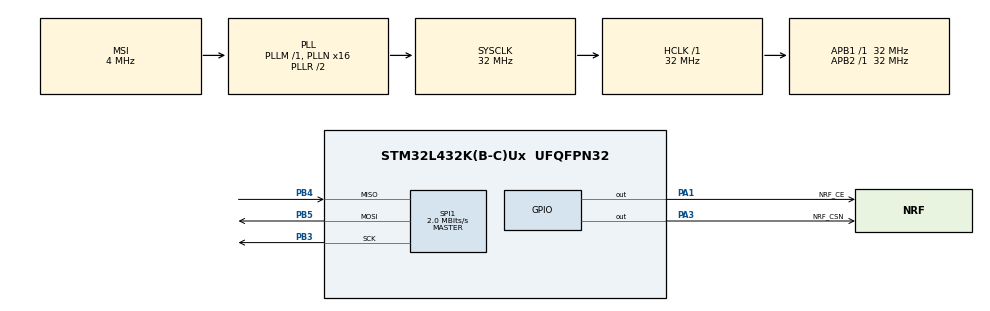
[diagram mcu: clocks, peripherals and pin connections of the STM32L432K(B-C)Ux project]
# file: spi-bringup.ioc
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Mcu.Family=STM32L4
Mcu.Name=STM32L432K(B-C)Ux
Mcu.Package=UFQFPN32
NVIC.PriorityGroup=NVIC_PRIORITYGROUP_4
PA0.GPIO_Label=MCO [High speed clock in]
PA0.Signal=RCC_CK_IN
PA1.GPIO_Label=NRF_CE
PA1.Signal=GPIO_Output
PA13\ (JTMS-SWDIO).GPIO_Label=SWDIO
PA13\ (JTMS-SWDIO).Signal=SYS_JTMS-SWDIO
PA14\ (JTCK-SWCLK).GPIO_Label=SWCLK
PA14\ (JTCK-SWCLK).Signal=SYS_JTCK-SWCLK
PA15\ (JTDI).GPIO_Label=VCP_RX
PA15\ (JTDI).Signal=USART2_RX
PA2.GPIO_Label=VCP_TX
PA2.Signal=USART2_TX
PA3.GPIO_Label=NRF_CSN
PA3.Signal=GPIO_Output
PB3\ (JTDO-TRACESWO).Mode=Full_Duplex_Master
PB3\ (JTDO-TRACESWO).Signal=SPI1_SCK
PB4\ (NJTRST).Mode=Full_Duplex_Master
PB4\ (NJTRST).Signal=SPI1_MISO
PB5.Mode=Full_Duplex_Master
PB5.Signal=SPI1_MOSI
PC14-OSC32_IN\ (PC14).Signal=RCC_OSC32_IN
PC15-OSC32_OUT\ (PC15).Signal=RCC_OSC32_OUT
ProjectManager.HeapSize=0x200
ProjectManager.StackSize=0x400
ProjectManager.TargetToolchain=STM32CubeIDE
RCC.AHBFreq_Value=32000000
RCC.APB1Freq_Value=32000000
RCC.APB1TimFreq_Value=32000000
RCC.APB2Freq_Value=32000000
RCC.APB2TimFreq_Value=32000000
RCC.CortexFreq_Value=32000000
RCC.HCLKFreq_Value=32000000
RCC.HSE_VALUE=8000000
RCC.HSI16_VALUE=16000000
RCC.HSI48_VALUE=48000000
RCC.HSI_VALUE=16000000
RCC.LSE_VALUE=32768
RCC.MSI_VALUE=4000000
RCC.PLLMUL=RCC_PLLMUL_4
RCC.PLLN=16
RCC.SYSCLKFreq_VALUE=32000000
RCC.SYSCLKSource=RCC_SYSCLKSOURCE_PLLCLK
RCC.VCOOutputFreq_Value=64000000
SPI1.BaudRatePrescaler=SPI_BAUDRATEPRESCALER_16
SPI1.CalculateBaudRate=2.0 MBits/s
SPI1.DataSize=SPI_DATASIZE_8BIT
SPI1.Direction=SPI_DIRECTION_2LINES
SPI1.Mode=SPI_MODE_MASTER
SPI1.VirtualType=VM_MASTER
board=NUCLEO-L432KC

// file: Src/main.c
/* USER CODE BEGIN Header */
/**
  ******************************************************************************
  * @file           : main.c
  * @brief          : Main program body
  ******************************************************************************
  * @attention
  *
  * Copyright (c) 2026 STMicroelectronics.
  * All rights reserved.
  *
  * This software is licensed under terms that can be found in the LICENSE file
  * in the root directory of this software component.
  * If no LICENSE file comes with this software, it is provided AS-IS.
  *
  ******************************************************************************
  */
/* USER CODE END Header */
#include <string.h>
#include <stdbool.h>
#include "main.h"
#include "spi.h"
#include "gpio.h"
#include "nrf24.h"
#include "throttle_protocol.h"
#include "crc8.h"

/* USER CODE BEGIN PD */

#define TX_PACKET_PERIOD_MS    100u  /* well under WATCHDOG_RAMP_START_MS (175ms) so the watchdog
                                        doesn't fight the sweep between every pair of packets - the
                                        real protocol runs at 80Hz (12.5ms); this bring-up test just
                                        needs to be fast enough not to look like a degraded link */
#define TX_TEST_CYCLE_PACKETS   60u  /* ~6s at TX_PACKET_PERIOD_MS/packet: how often the TX role tests START_REQ */
#define TX_TEST_START_PACKETS    9u  /* ~0.9s: how long START_REQ holds during that test window */

/* Two-board TX/RX smoke test (DEVELOPMENT/radio/README.md bring-up step 3).
 * Set to 1, build, and flash the first ("TX") board - it sends a real,
 * protocol-valid throttle_packet_t (sync/seq/CRC8 all correct, flags=0)
 * every ~300ms, with the throttle field slowly triangle-sweeping between
 * IDLE_THROTTLE_VALUE and 200 so a receiving board's servo visibly moves -
 * an easy confirmation that packets are being received and VALIDATED
 * (sync/CRC8/sequence all passing), not just that SPI/radio transactions
 * are happening. Set to 0, rebuild, and flash the second ("RX") board -
 * it listens and stores each received counter in rx_last_counter/
 * rx_packet_count (this path still expects the OLD raw-counter-in-every-
 * byte format from before this file sent real packets; only meaningful
 * against another spi-bringup board in TX role, not receiver-prod).
 * Only flash/debug one board at a time; let the other free-run on USB or
 * battery power without an attached debug session. */
#define BRINGUP_ROLE_TX 1

/* USER CODE END PD */

void SystemClock_Config(void);

int main(void)
{

  /* MCU Configuration--------------------------------------------------------*/

  /* Reset of all peripherals, Initializes the Flash interface and the Systick. */
  HAL_Init();

  /* Configure the system clock */
  SystemClock_Config();

  /* Initialize all configured peripherals */
  MX_GPIO_Init();
  MX_SPI1_Init();
  /* USER CODE BEGIN 2 */

  /* nRF24L01+ driver smoke test: nrf24_init() configures EN_AA, SETUP_RETR,
   * RF_CH, RF_SETUP, RX_ADDR_P0/TX_ADDR, and RX_PW_P0, then raises PWR_UP.
   * Confirmed on hardware, 2026-08-06 (see DEVELOPMENT/radio/README.md):
   *   - CONFIG:   0x0A (EN_CRC=1, PWR_UP=1, PRIM_RX=0) - our own write.
   *   - RF_SETUP: 0x24 (250kbps, PA_HIGH/-6dBm) - our own write.
   *   - RX_ADDR_P0 (5 bytes): {0xE7,0xE7,0xE7,0xE7,0xE7} - confirms
   *     multi-byte register writes/reads work too, not just single-byte. */
  nrf24_init();

  uint8_t config_val    = nrf24_read_reg(NRF24_REG_CONFIG);
  uint8_t rf_setup_val   = nrf24_read_reg(NRF24_REG_RF_SETUP);
  uint8_t rx_addr_p0[5]  = { 0 };
  nrf24_read_reg_n(NRF24_REG_RX_ADDR_P0, rx_addr_p0, 5);
  /* Never previously read back - checking these because MAX_RT (max
   * retransmits) is showing up on the TX board despite EN_AA/SETUP_RETR
   * both being written 0x00, which should make MAX_RT impossible. Expect
   * both 0x00 here; if not, the writes aren't landing as intended. */
  uint8_t en_aa_val      = nrf24_read_reg(NRF24_REG_EN_AA);
  uint8_t setup_retr_val = nrf24_read_reg(NRF24_REG_SETUP_RETR);

#if BRINGUP_ROLE_TX
  uint8_t tx_seq = 0;
  uint8_t tx_throttle = IDLE_THROTTLE_VALUE;
  int8_t  tx_sweep_dir = 1;
  uint32_t tx_packet_num = 0;
  /* Set to 1 via a debugger breakpoint/variable edit to send ONE packet
   * with CMD_FLAG_KILL, then it auto-resets to 0. Deliberately NOT part of
   * the automatic test cycle below: KILL is sticky on the receiver (needs
   * a physical re-arm/power-cycle to clear), so firing it on a timer would
   * lock board B mid-test. */
  volatile uint8_t tx_send_kill = 0;
  /* nrf24_init() already leaves the chip in TX mode (PRIM_RX=0, CE low). */
#else
  uint32_t rx_packet_count = 0;
  uint8_t rx_last_counter = 0;
  nrf24_enter_rx_mode();
#endif

  /* USER CODE END 2 */

  /* Infinite loop */
  while (1)
  {

    /* USER CODE BEGIN 3 */
#if BRINGUP_ROLE_TX
    /* Every TX_TEST_CYCLE_PACKETS (~6s), pause the throttle sweep and hold
     * CMD_FLAG_START_REQ + idle throttle for TX_TEST_START_PACKETS (~0.9s)
     * to satisfy start_tick()'s IDLE_THRESHOLD_FOR_START gate - a clean,
     * repeatable, non-sticky test of the wireless START path, well under
     * MAX_CRANK_MS so it always ends via voluntary release (blue LED while
     * held, green on release), never the forced-stop/cooldown path. */
    bool test_start_window = (tx_packet_num % TX_TEST_CYCLE_PACKETS) < TX_TEST_START_PACKETS;

    throttle_packet_t pkt;
    pkt.sync = PACKET_SYNC_BYTE;
    pkt.seq = tx_seq++;
    pkt.throttle = test_start_window ? IDLE_THROTTLE_VALUE : tx_throttle;
    pkt.flags = 0;
    if (tx_send_kill) {
      pkt.flags |= CMD_FLAG_KILL;
      tx_send_kill = 0; /* one-shot */
    } else if (test_start_window) {
      pkt.flags |= CMD_FLAG_START_REQ;
    }
    pkt.crc8 = crc8_compute((const uint8_t *)&pkt, PACKET_CRC_LEN);

    uint8_t raw[PACKET_SIZE];
    memcpy(raw, &pkt, PACKET_SIZE);
    nrf24_send_payload(raw, (uint8_t)PACKET_SIZE);
    uint8_t tx_fifo_status = nrf24_read_reg(NRF24_REG_FIFO_STATUS);
    (void)tx_fifo_status; /* breakpoint here if debugging; TX_EMPTY (0x10) should be set after each send */

    tx_packet_num++;

    /* Slow triangle sweep, step 1 every TX_PACKET_PERIOD_MS (~20s per
     * direction) - paused during the START test window above so throttle
     * stays at idle for that gate, then resumes from where it left off. The
     * receiving board's servo moving is a visual confirmation that packets
     * are being received AND validated, not just that radio traffic is
     * happening at all. */
    if (test_start_window) {
      /* sweep paused this packet */
    } else if (tx_sweep_dir > 0) {
      if (tx_throttle >= 200) { tx_sweep_dir = -1; } else { tx_throttle += 1; }
    } else {
      if (tx_throttle <= IDLE_THROTTLE_VALUE) { tx_sweep_dir = 1; } else { tx_throttle -= 1; }
    }

    HAL_Delay(TX_PACKET_PERIOD_MS);
#else
    if (nrf24_rx_available()) {
      uint8_t payload[NRF24_PAYLOAD_SIZE];
      nrf24_read_payload(payload, NRF24_PAYLOAD_SIZE);
      rx_last_counter = payload[0];
      rx_packet_count++; /* breakpoint here; expect rx_last_counter to climb by 1 each stop */
    }
#endif
  }
  /* USER CODE END 3 */
}

void SystemClock_Config(void)
{
  RCC_OscInitTypeDef RCC_OscInitStruct = {0};
  RCC_ClkInitTypeDef RCC_ClkInitStruct = {0};

  /** Configure the main internal regulator output voltage
  */
  if (HAL_PWREx_ControlVoltageScaling(PWR_REGULATOR_VOLTAGE_SCALE1) != HAL_OK)
  {
    Error_Handler();
  }

  /** Initializes the RCC Oscillators according to the specified parameters
  * in the RCC_OscInitTypeDef structure.
  */
  RCC_OscInitStruct.OscillatorType = RCC_OSCILLATORTYPE_MSI;
  RCC_OscInitStruct.MSIState = RCC_MSI_ON;
  RCC_OscInitStruct.MSICalibrationValue = 0;
  RCC_OscInitStruct.MSIClockRange = RCC_MSIRANGE_6;
  RCC_OscInitStruct.PLL.PLLState = RCC_PLL_ON;
  RCC_OscInitStruct.PLL.PLLSource = RCC_PLLSOURCE_MSI;
  RCC_OscInitStruct.PLL.PLLM = 1;
  RCC_OscInitStruct.PLL.PLLN = 16;
  RCC_OscInitStruct.PLL.PLLP = RCC_PLLP_DIV7;
  RCC_OscInitStruct.PLL.PLLQ = RCC_PLLQ_DIV2;
  RCC_OscInitStruct.PLL.PLLR = RCC_PLLR_DIV2;
  if (HAL_RCC_OscConfig(&RCC_OscInitStruct) != HAL_OK)
  {
    Error_Handler();
  }

  /** Initializes the CPU, AHB and APB buses clocks
  */
  RCC_ClkInitStruct.ClockType = RCC_CLOCKTYPE_HCLK|RCC_CLOCKTYPE_SYSCLK
                              |RCC_CLOCKTYPE_PCLK1|RCC_CLOCKTYPE_PCLK2;
  RCC_ClkInitStruct.SYSCLKSource = RCC_SYSCLKSOURCE_PLLCLK;
  RCC_ClkInitStruct.AHBCLKDivider = RCC_SYSCLK_DIV1;
  RCC_ClkInitStruct.APB1CLKDivider = RCC_HCLK_DIV1;
  RCC_ClkInitStruct.APB2CLKDivider = RCC_HCLK_DIV1;

  if (HAL_RCC_ClockConfig(&RCC_ClkInitStruct, FLASH_LATENCY_1) != HAL_OK)
  {
    Error_Handler();
  }
}

void Error_Handler(void)
{
  __disable_irq();
  while (1)
  {
  }
}
